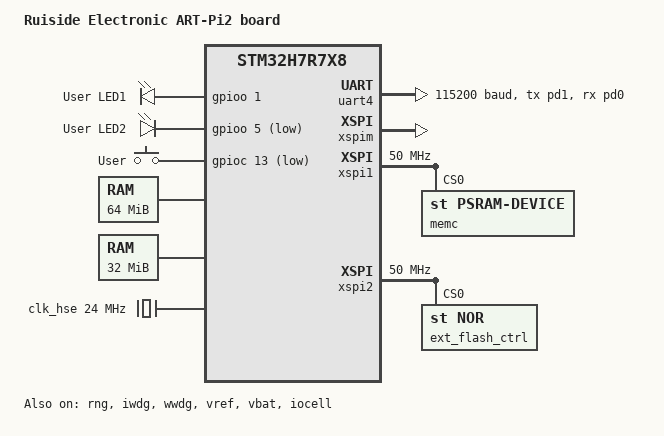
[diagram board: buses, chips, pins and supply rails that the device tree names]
/*
 * Copyright (c) 2025 Shan Pen <bricle031@gmail.com>
 *
 * SPDX-License-Identifier: Apache-2.0
 */

/dts-v1/;
#include <st/h7rs/stm32h7r7X8.dtsi>
#include <st/h7/stm32h7r7l8hxh-pinctrl.dtsi>
#include <zephyr/dt-bindings/input/input-event-codes.h>

/ {
	compatible = "ruiside,art-pi2";
	model = "Ruiside Electronic ART-Pi2 board";

	chosen {
		zephyr,console = &uart4;
		zephyr,shell-uart = &uart4;
		zephyr,sram = &sram0;
		zephyr,flash = &flash0;
	};

	leds: leds {
		compatible = "gpio-leds";

		red_led: led_1 {
			gpios = <&gpioo 1 GPIO_ACTIVE_HIGH>;
			label = "User LED1";
		};

		blue_led: led_2 {
			gpios = <&gpioo 5 GPIO_ACTIVE_LOW>;
			label = "User LED2";
		};
	};

	gpio_keys {
		compatible = "gpio-keys";

		user_button: button_0 {
			label = "User";
			gpios = <&gpioc 13 GPIO_ACTIVE_LOW>;
			zephyr,code = <INPUT_KEY_0>;
		};
	};

	aliases {
		led0 = &red_led;
		led1 = &blue_led;
		sw0 = &user_button;
		watchdog0 = &iwdg;
		die-temp0 = &die_temp;
		volt-sensor0 = &vref;
		volt-sensor1 = &vbat;
	};

	ext_flash_mem: memory@70000000 {
		compatible = "zephyr,memory-region";
		reg = <0x70000000 DT_SIZE_M(64)>;
		zephyr,memory-region = "EXTMEM";
		zephyr,memory-attr = <DT_MEM_ARM(ATTR_MPU_FLASH)>;
	};

	psram: memory@90000000 {
		compatible = "zephyr,memory-region";
		reg = <0x90000000 DT_SIZE_M(32)>;
		zephyr,memory-region = "PSRAM";
		zephyr,memory-attr = <DT_MEM_ARM(ATTR_MPU_RAM)>;
	};
};

&dtcm {
	reg = <0x20000000 DT_SIZE_K(64)>;
};

&clk_hsi48 {
	status = "okay";
};

&clk_hse {
	clock-frequency = <DT_FREQ_M(24)>;
	status = "okay";
};

&pll {
	div-m = <12>;
	mul-n = <250>;
	div-p = <2>;
	div-q = <2>;
	div-r = <2>;
	div-s = <2>;
	div-t = <2>;
	clocks = <&clk_hse>;
	status = "okay";
};

&pll2 {
	div-m = <12>;
	mul-n = <200>;
	div-p = <2>;
	div-q = <2>;
	div-r = <2>;
	div-s = <2>;
	div-t = <2>;
	clocks = <&clk_hse>;
	status = "okay";
};

&rcc {
	clocks = <&pll>;
	clock-frequency = <DT_FREQ_M(250)>;
	dcpre = <1>;
	hpre = <1>;
	ppre1 = <2>;
	ppre2 = <2>;
	ppre4 = <2>;
	ppre5 = <2>;
};

&pwr {
	power-supply = "smps-direct";
};

&uart4 {
	pinctrl-0 = <&uart4_tx_pd1 &uart4_rx_pd0>;
	pinctrl-names = "default";
	current-speed = <115200>;
	status = "okay";
};

&rng {
	status = "okay";
};

&iwdg {
	status = "okay";
};

&wwdg {
	status = "okay";
};

&vref {
	status = "okay";
};

&vbat {
	status = "okay";
};

&hpdma1 {
	status = "okay";
};

&xspim {
	status = "okay";
};

&xspi1 {
	compatible = "st,stm32-xspi-controller";
	clock-frequency = <DT_FREQ_M(50)>;
	op-mode = "MSPI_OP_MODE_CONTROLLER";
	pinctrl-0 = <&xspim_p1_ncs1_po0 &xspim_p1_clk_po4
		     &xspim_p1_dqs0_po2 &xspim_p1_dqs1_po3
		     &xspim_p1_io0_pp0 &xspim_p1_io1_pp1
		     &xspim_p1_io2_pp2 &xspim_p1_io3_pp3
		     &xspim_p1_io4_pp4 &xspim_p1_io5_pp5
		     &xspim_p1_io6_pp6 &xspim_p1_io7_pp7
		     &xspim_p1_io8_pp8 &xspim_p1_io9_pp9
		     &xspim_p1_io10_pp10 &xspim_p1_io11_pp11
		     &xspim_p1_io12_pp12 &xspim_p1_io13_pp13
		     &xspim_p1_io14_pp14 &xspim_p1_io15_pp15>;
	pinctrl-names = "default";
	dmas = <&hpdma1 2 2 STM32_DMA_PERIPH_TX
		&hpdma1 3 2 STM32_DMA_PERIPH_RX>;
	dma-names = "tx", "rx";
	st,csbound = <3>;
	st,refresh = <96>;
	status = "okay";

	memc: psram@0 {
		compatible = "st,psram-device", "aps-z8";
		reg = <0>;
		size = <DT_SIZE_M(256)>;
		mspi-max-frequency = <DT_FREQ_M(50)>;
		mspi-io-mode = "MSPI_IO_MODE_HEX_8_8_16";
		mspi-data-rate = "MSPI_DATA_RATE_S_D_D";
		mspi-hardware-ce-num = <0>;
		read-command = <0x20>;
		write-command = <0xa0>;
		command-length = "INSTR_1_BYTE";
		address-length = "ADDR_4_BYTE";
		rx-dummy = <5>;
		tx-dummy = <5>;
		memmap-config = <1 0 DT_SIZE_M(32) 0>;
		aps-version = "APS256";
		ce-break-config = <1024 4>;
		st,timing-config = <1>;
		st,mem-type = "apmem_16bits";
	};
};

&xspi2 {
	compatible = "st,stm32-xspi-controller";
	clock-frequency = <DT_FREQ_M(50)>;
	op-mode = "MSPI_OP_MODE_CONTROLLER";
	pinctrl-0 = <&xspim_p2_clk_pn6 &xspim_p2_ncs1_pn1
		     &xspim_p2_io0_pn2 &xspim_p2_io1_pn3
		     &xspim_p2_io2_pn4 &xspim_p2_io3_pn5
		     &xspim_p2_io4_pn8 &xspim_p2_io5_pn9
		     &xspim_p2_io6_pn10 &xspim_p2_io7_pn11
		     &xspim_p2_dqs0_pn0>;
	pinctrl-names = "default";
	dmas = <&hpdma1 0 3 STM32_DMA_PERIPH_TX
		&hpdma1 1 3 STM32_DMA_PERIPH_RX>;
	dma-names = "tx", "rx";
	st,csbound = <0>;
	status = "okay";

	ext_flash_ctrl: nor-flash-controller@0 {
		compatible = "st,nor", "winbond,w35t51nw", "jedec,nor";
		reg = <0>;
		ranges = <0x0 0x70000000 DT_SIZE_M(64)>;
		size = <DT_SIZE_M(512)>;
		jedec-id = [ef 5b 1a];
		mspi-max-frequency = <DT_FREQ_M(50)>;
		mspi-io-mode = "MSPI_IO_MODE_OCTAL";
		mspi-data-rate = "MSPI_DATA_RATE_DUAL";
		mspi-hardware-ce-num = <0>;
		read-command = <0xfdfd>;
		write-command = <0x8e8e>;
		command-length = "INSTR_2_BYTE";
		address-length = "ADDR_4_BYTE";
		rx-dummy = <16>;
		memmap-config = <1 0 DT_SIZE_M(64) 1>;
		use-4byte-addressing;
		#address-cells = <1>;
		#size-cells = <1>;
		st,mem-type = "micron";

		ext_flash: w35t51nw: flash@0 {
			compatible = "soc-nv-flash";
			reg = <0x0 DT_SIZE_M(64)>;
			ranges = <0x0 0x0 DT_SIZE_M(64)>;
			write-block-size = <1>;
			erase-block-size = <DT_SIZE_K(4)>;
			#address-cells = <1>;
			#size-cells = <1>;
		};
	};
};

&iocell {
	status = "okay";

	vddxspi1 {
		hslv-mode = "on";
		compensation-enabled;
	};

	vddxspi2 {
		hslv-mode = "on";
		compensation-enabled;
	};
};
